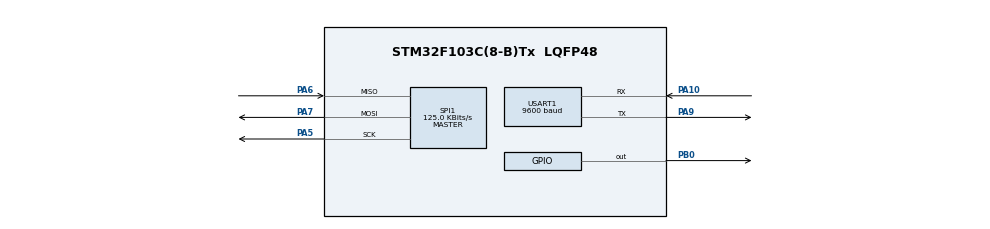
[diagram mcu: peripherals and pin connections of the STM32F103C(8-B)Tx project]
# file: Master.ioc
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Mcu.Family=STM32F1
Mcu.Name=STM32F103C(8-B)Tx
Mcu.Package=LQFP48
NVIC.PriorityGroup=NVIC_PRIORITYGROUP_4
PA10.Mode=Asynchronous
PA10.Signal=USART1_RX
PA14.Signal=SYS_JTCK-SWCLK
PA5.Mode=Full_Duplex_Master
PA5.Signal=SPI1_SCK
PA6.Mode=Full_Duplex_Master
PA6.Signal=SPI1_MISO
PA7.Mode=Full_Duplex_Master
PA7.Signal=SPI1_MOSI
PA9.Mode=Asynchronous
PA9.Signal=USART1_TX
PB0.Signal=GPIO_Output
ProjectManager.HeapSize=0x200
ProjectManager.StackSize=0x400
ProjectManager.TargetToolchain=STM32CubeIDE
RCC.APB1Freq_Value=8000000
RCC.APB2Freq_Value=8000000
SPI1.BaudRatePrescaler=SPI_BAUDRATEPRESCALER_64
SPI1.CalculateBaudRate=125.0 KBits/s
SPI1.Direction=SPI_DIRECTION_2LINES
SPI1.Mode=SPI_MODE_MASTER
SPI1.VirtualType=VM_MASTER
USART1.BaudRate=9600
USART1.VirtualMode=VM_ASYNC
VP_SYS_VS_ND.Mode=No_Debug
board=custom

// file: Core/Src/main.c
/* USER CODE BEGIN Header */
/**
  ******************************************************************************
  * @file           : main.c
  * @brief          : Master - STM32F103C8 SPI Telemetry
  ******************************************************************************
  */
/* USER CODE END Header */

#include "main.h"
#include <stdio.h>
#include <string.h>

SPI_HandleTypeDef hspi1;
UART_HandleTypeDef huart1;

/* USER CODE BEGIN PV */

uint8_t rxChar;

uint16_t caseID;

/* Case ID: 2 bytes */
uint8_t spiTxID[2];
uint8_t spiRxID[2];

/* Telemetry: 3 bytes = 24 bits */
uint8_t spiTxData[3];
uint8_t spiRxData[3];

uint16_t voltageRaw;
uint16_t speedRaw;

float voltage;
float speed;

char uartBuf[150];

/* USER CODE END PV */

void SystemClock_Config(void);
static void MX_GPIO_Init(void);
static void MX_SPI1_Init(void);
static void MX_USART1_UART_Init(void);

/* USER CODE BEGIN 0 */

void UART_Print(char *str)
{
    HAL_UART_Transmit(
        &huart1,
        (uint8_t *)str,
        strlen(str),
        HAL_MAX_DELAY
    );
}

/* Send Case ID to Slave */
HAL_StatusTypeDef SPI_SendCaseID(uint16_t id)
{
    spiTxID[0] = (uint8_t)(id >> 8);
    spiTxID[1] = (uint8_t)(id & 0xFF);

    spiRxID[0] = 0;
    spiRxID[1] = 0;

    /* CS LOW */
    HAL_GPIO_WritePin(GPIOB, GPIO_PIN_0, GPIO_PIN_RESET);

    HAL_StatusTypeDef status =
        HAL_SPI_TransmitReceive(
            &hspi1,
            spiTxID,
            spiRxID,
            2,
            500
        );

    /* CS HIGH */
    HAL_GPIO_WritePin(GPIOB, GPIO_PIN_0, GPIO_PIN_SET);

    return status;
}

/* Receive 24-bit telemetry from Slave */
HAL_StatusTypeDef SPI_ReceiveTelemetry(void)
{
    spiTxData[0] = 0x00;
    spiTxData[1] = 0x00;
    spiTxData[2] = 0x00;

    spiRxData[0] = 0x00;
    spiRxData[1] = 0x00;
    spiRxData[2] = 0x00;

    /* CS LOW */
    HAL_GPIO_WritePin(GPIOB, GPIO_PIN_0, GPIO_PIN_RESET);

    HAL_StatusTypeDef status =
        HAL_SPI_TransmitReceive(
            &hspi1,
            spiTxData,
            spiRxData,
            3,
            500
        );

    /* CS HIGH */
    HAL_GPIO_WritePin(GPIOB, GPIO_PIN_0, GPIO_PIN_SET);

    return status;
}

/* USER CODE END 0 */

int main(void)
{
    /* Reset peripherals, initialize Flash and SysTick */
    HAL_Init();

    /* Configure system clock */
    SystemClock_Config();

    /* Initialize peripherals */
    MX_GPIO_Init();
    MX_SPI1_Init();
    MX_USART1_UART_Init();

    /* USER CODE BEGIN 2 */

    /* CS starts HIGH = Slave not selected */
    HAL_GPIO_WritePin(
        GPIOB,
        GPIO_PIN_0,
        GPIO_PIN_SET
    );
    HAL_Delay(100);
    UART_Print("\r\n");
    UART_Print("================================\r\n");
    UART_Print("       STM32 TELEMETRY SYSTEM\r\n");
    UART_Print("================================\r\n");
    UART_Print("Enter Case ID (1 - 5): ");

    /* USER CODE END 2 */

    while (1)
    {

        if (HAL_UART_Receive(
                &huart1,
                &rxChar,
                1,
                HAL_MAX_DELAY
            ) == HAL_OK)
        {

            if (rxChar >= '1' && rxChar <= '5')
            {

                caseID =
                    0x1000 +
                    (uint16_t)(rxChar - '0');

                if (SPI_SendCaseID(caseID) != HAL_OK)
                {
                    UART_Print(
                        "\r\n[ERROR] SPI Case ID transmission failed!\r\n"
                    );

                    UART_Print(
                        "Enter Case ID (1 - 5): "
                    );

                    continue;
                }

                HAL_Delay(10);

                if (SPI_ReceiveTelemetry() != HAL_OK)
                {
                    UART_Print(
                        "\r\n[ERROR] SPI telemetry reception failed!\r\n"
                    );

                    UART_Print(
                        "Enter Case ID (1 - 5): "
                    );

                    continue;
                }

                voltageRaw =
                    ((uint16_t)spiRxData[0] << 4) |
                    ((spiRxData[1] >> 4) & 0x0F);

                speedRaw =
                    ((uint16_t)(spiRxData[1] & 0x0F) << 8) |
                    spiRxData[2];

                voltage =
                    (float)voltageRaw / 10.0f;

                speed =
                    (float)speedRaw;

                sprintf(
                    uartBuf,

                    "\r\nSelected Case ID: 0x%04X\r\n"
                    "Voltage: %.1f V | Speed: %.0f km/h\r\n"
                    "\r\nEnter Case ID (1 - 5): ",

                    caseID,
                    voltage,
                    speed
                );

                UART_Print(uartBuf);
            }

            else
            {

                if (rxChar != '\r' && rxChar != '\n')
                {
                    UART_Print(
                        "\r\nInvalid Choice! "
                        "Enter a number between 1 and 5: "
                    );
                }
            }
        }
    }
}

void SystemClock_Config(void)
{
    RCC_OscInitTypeDef RCC_OscInitStruct = {0};
    RCC_ClkInitTypeDef RCC_ClkInitStruct = {0};

    RCC_OscInitStruct.OscillatorType =
        RCC_OSCILLATORTYPE_HSI;

    RCC_OscInitStruct.HSIState =
        RCC_HSI_ON;

    RCC_OscInitStruct.HSICalibrationValue =
        RCC_HSICALIBRATION_DEFAULT;

    RCC_OscInitStruct.PLL.PLLState =
        RCC_PLL_NONE;

    if (HAL_RCC_OscConfig(&RCC_OscInitStruct) != HAL_OK)
    {
        Error_Handler();
    }

    RCC_ClkInitStruct.ClockType =
        RCC_CLOCKTYPE_HCLK |
        RCC_CLOCKTYPE_SYSCLK |
        RCC_CLOCKTYPE_PCLK1 |
        RCC_CLOCKTYPE_PCLK2;

    RCC_ClkInitStruct.SYSCLKSource =
        RCC_SYSCLKSOURCE_HSI;

    RCC_ClkInitStruct.AHBCLKDivider =
        RCC_SYSCLK_DIV1;

    RCC_ClkInitStruct.APB1CLKDivider =
        RCC_HCLK_DIV1;

    RCC_ClkInitStruct.APB2CLKDivider =
        RCC_HCLK_DIV1;

    if (HAL_RCC_ClockConfig(
            &RCC_ClkInitStruct,
            FLASH_LATENCY_0
        ) != HAL_OK)
    {
        Error_Handler();
    }
}

static void MX_SPI1_Init(void)
{
    hspi1.Instance = SPI1;

    hspi1.Init.Mode =
        SPI_MODE_MASTER;

    hspi1.Init.Direction =
        SPI_DIRECTION_2LINES;

    hspi1.Init.DataSize =
        SPI_DATASIZE_8BIT;

    hspi1.Init.CLKPolarity =
        SPI_POLARITY_LOW;

    hspi1.Init.CLKPhase =
        SPI_PHASE_1EDGE;

    /*
     * We manually control CS using PB0
     */
    hspi1.Init.NSS =
        SPI_NSS_SOFT;

    hspi1.Init.BaudRatePrescaler =
        SPI_BAUDRATEPRESCALER_64;

    hspi1.Init.FirstBit =
        SPI_FIRSTBIT_MSB;

    hspi1.Init.TIMode =
        SPI_TIMODE_DISABLE;

    hspi1.Init.CRCCalculation =
        SPI_CRCCALCULATION_DISABLE;

    hspi1.Init.CRCPolynomial =
        10;

    if (HAL_SPI_Init(&hspi1) != HAL_OK)
    {
        Error_Handler();
    }
}

static void MX_USART1_UART_Init(void)
{
    huart1.Instance = USART1;

    huart1.Init.BaudRate =
        9600;

    huart1.Init.WordLength =
        UART_WORDLENGTH_8B;

    huart1.Init.StopBits =
        UART_STOPBITS_1;

    huart1.Init.Parity =
        UART_PARITY_NONE;

    huart1.Init.Mode =
        UART_MODE_TX_RX;

    huart1.Init.HwFlowCtl =
        UART_HWCONTROL_NONE;

    huart1.Init.OverSampling =
        UART_OVERSAMPLING_16;

    if (HAL_UART_Init(&huart1) != HAL_OK)
    {
        Error_Handler();
    }
}

static void MX_GPIO_Init(void)
{
    GPIO_InitTypeDef GPIO_InitStruct = {0};

    __HAL_RCC_GPIOA_CLK_ENABLE();
    __HAL_RCC_GPIOB_CLK_ENABLE();

    /* PB0 = Chip Select */

    HAL_GPIO_WritePin(
        GPIOB,
        GPIO_PIN_0,
        GPIO_PIN_SET
    );

    GPIO_InitStruct.Pin =
        GPIO_PIN_0;

    GPIO_InitStruct.Mode =
        GPIO_MODE_OUTPUT_PP;

    GPIO_InitStruct.Pull =
        GPIO_NOPULL;

    GPIO_InitStruct.Speed =
        GPIO_SPEED_FREQ_LOW;

    HAL_GPIO_Init(
        GPIOB,
        &GPIO_InitStruct
    );
}

/**
  * @brief Error Handler
  */
void Error_Handler(void)
{
    __disable_irq();

    while (1)
    {
    }
}
